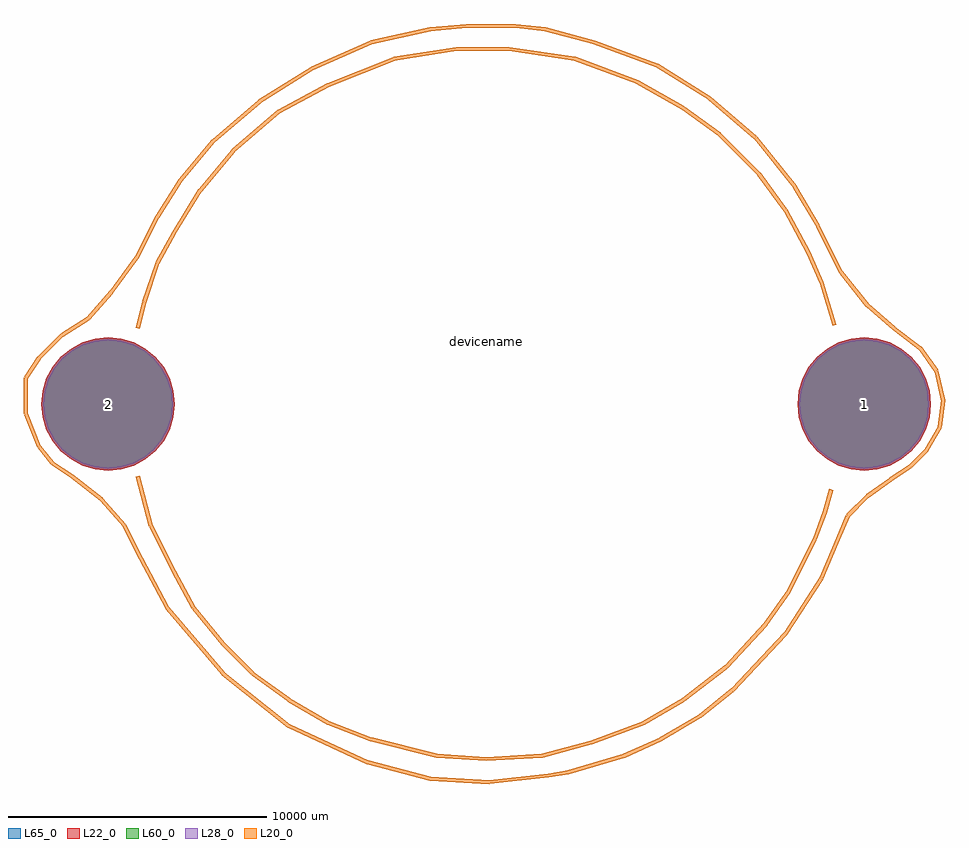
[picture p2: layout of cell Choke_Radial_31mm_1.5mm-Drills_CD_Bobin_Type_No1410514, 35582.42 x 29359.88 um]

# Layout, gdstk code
import gdstk
lib = gdstk.Library(unit=1e-6, precision=1e-09)
def P(c, l, *ps):  # polygons
    for p in ps: c.add(gdstk.Polygon(p, *l))
L20_0 = (20, 0)
L22_0 = (22, 0)
L28_0 = (28, 0)
L60_0 = (60, 0)
L65_0 = (65, 0)

choke_radial_31mm_1_5mm_ = lib.new_cell('Choke_Radial_31mm_1.5mm-Drills_CD_Bobin_Type_No1410514')
P(choke_radial_31mm_1_5mm_, L22_0, [(-12029.37,0),(-12078.86,502.48),(-12225.428,985.651),(-12463.442,1430.943),(-12783.755,1821.245),(-13174.057,2141.558),(-13619.349,2379.572),(-14102.52,2526.14),(-14605,2575.63),(-15107.48,2526.14),(-15590.651,2379.572),(-16035.943,2141.558),(-16426.245,1821.245),(-16746.558,1430.943),(-16984.572,985.651),(-17131.14,502.48),(-17180.63,0),(-17131.14,-502.48),(-16984.572,-985.651),(-16746.558,-1430.943),(-16426.245,-1821.245),(-16035.943,-2141.558),(-15590.651,-2379.572),(-15107.48,-2526.14),(-14605,-2575.63),(-14102.52,-2526.14),(-13619.349,-2379.572),(-13174.057,-2141.558),(-12783.755,-1821.245),(-12463.442,-1430.943),(-12225.428,-985.651),(-12078.86,-502.48)],
  [(17180.63,0),(17131.14,502.48),(16984.572,985.651),(16746.558,1430.943),(16426.245,1821.245),(16035.943,2141.558),(15590.651,2379.572),(15107.48,2526.14),(14605,2575.63),(14102.52,2526.14),(13619.349,2379.572),(13174.057,2141.558),(12783.755,1821.245),(12463.442,1430.943),(12225.428,985.651),(12078.86,502.48),(12029.37,0),(12078.86,-502.48),(12225.428,-985.651),(12463.442,-1430.943),(12783.755,-1821.245),(13174.057,-2141.558),(13619.349,-2379.572),(14102.52,-2526.14),(14605,-2575.63),(15107.48,-2526.14),(15590.651,-2379.572),(16035.943,-2141.558),(16426.245,-1821.245),(16746.558,-1430.943),(16984.572,-985.651),(17131.14,-502.48)])
P(choke_radial_31mm_1_5mm_, L28_0, [(-12104.37,0),(-12152.419,487.849),(-12294.719,956.95),(-12525.802,1389.276),(-12836.788,1768.212),(-13215.724,2079.198),(-13648.05,2310.281),(-14117.151,2452.581),(-14605,2500.63),(-15092.849,2452.581),(-15561.95,2310.281),(-15994.276,2079.198),(-16373.212,1768.212),(-16684.198,1389.276),(-16915.281,956.95),(-17057.581,487.849),(-17105.63,0),(-17057.581,-487.849),(-16915.281,-956.95),(-16684.198,-1389.276),(-16373.212,-1768.212),(-15994.276,-2079.198),(-15561.95,-2310.281),(-15092.849,-2452.581),(-14605,-2500.63),(-14117.151,-2452.581),(-13648.05,-2310.281),(-13215.724,-2079.198),(-12836.788,-1768.212),(-12525.802,-1389.276),(-12294.719,-956.95),(-12152.419,-487.849)],
  [(17105.63,0),(17057.581,487.849),(16915.281,956.95),(16684.198,1389.276),(16373.212,1768.212),(15994.276,2079.198),(15561.95,2310.281),(15092.849,2452.581),(14605,2500.63),(14117.151,2452.581),(13648.05,2310.281),(13215.724,2079.198),(12836.788,1768.212),(12525.802,1389.276),(12294.719,956.95),(12152.419,487.849),(12104.37,0),(12152.419,-487.849),(12294.719,-956.95),(12525.802,-1389.276),(12836.788,-1768.212),(13215.724,-2079.198),(13648.05,-2310.281),(14117.151,-2452.581),(14605,-2500.63),(15092.849,-2452.581),(15561.95,-2310.281),(15994.276,-2079.198),(16373.212,-1768.212),(16684.198,-1389.276),(16915.281,-956.95),(17057.581,-487.849)])
P(choke_radial_31mm_1_5mm_, L60_0, [(-12104.37,0),(-12152.419,487.849),(-12294.719,956.95),(-12525.802,1389.276),(-12836.788,1768.212),(-13215.724,2079.198),(-13648.05,2310.281),(-14117.151,2452.581),(-14605,2500.63),(-15092.849,2452.581),(-15561.95,2310.281),(-15994.276,2079.198),(-16373.212,1768.212),(-16684.198,1389.276),(-16915.281,956.95),(-17057.581,487.849),(-17105.63,0),(-17057.581,-487.849),(-16915.281,-956.95),(-16684.198,-1389.276),(-16373.212,-1768.212),(-15994.276,-2079.198),(-15561.95,-2310.281),(-15092.849,-2452.581),(-14605,-2500.63),(-14117.151,-2452.581),(-13648.05,-2310.281),(-13215.724,-2079.198),(-12836.788,-1768.212),(-12525.802,-1389.276),(-12294.719,-956.95),(-12152.419,-487.849)],
  [(17105.63,0),(17057.581,487.849),(16915.281,956.95),(16684.198,1389.276),(16373.212,1768.212),(15994.276,2079.198),(15561.95,2310.281),(15092.849,2452.581),(14605,2500.63),(14117.151,2452.581),(13648.05,2310.281),(13215.724,2079.198),(12836.788,1768.212),(12525.802,1389.276),(12294.719,956.95),(12152.419,487.849),(12104.37,0),(12152.419,-487.849),(12294.719,-956.95),(12525.802,-1389.276),(12836.788,-1768.212),(13215.724,-2079.198),(13648.05,-2310.281),(14117.151,-2452.581),(14605,-2500.63),(15092.849,-2452.581),(15561.95,-2310.281),(15994.276,-2079.198),(16373.212,-1768.212),(16684.198,-1389.276),(16915.281,-956.95),(17057.581,-487.849)])
P(choke_radial_31mm_1_5mm_, L65_0, [(-12029.37,0),(-12078.86,502.48),(-12225.428,985.651),(-12463.442,1430.943),(-12783.755,1821.245),(-13174.057,2141.558),(-13619.349,2379.572),(-14102.52,2526.14),(-14605,2575.63),(-15107.48,2526.14),(-15590.651,2379.572),(-16035.943,2141.558),(-16426.245,1821.245),(-16746.558,1430.943),(-16984.572,985.651),(-17131.14,502.48),(-17180.63,0),(-17131.14,-502.48),(-16984.572,-985.651),(-16746.558,-1430.943),(-16426.245,-1821.245),(-16035.943,-2141.558),(-15590.651,-2379.572),(-15107.48,-2526.14),(-14605,-2575.63),(-14102.52,-2526.14),(-13619.349,-2379.572),(-13174.057,-2141.558),(-12783.755,-1821.245),(-12463.442,-1430.943),(-12225.428,-985.651),(-12078.86,-502.48)],
  [(17180.63,0),(17131.14,502.48),(16984.572,985.651),(16746.558,1430.943),(16426.245,1821.245),(16035.943,2141.558),(15590.651,2379.572),(15107.48,2526.14),(14605,2575.63),(14102.52,2526.14),(13619.349,2379.572),(13174.057,2141.558),(12783.755,1821.245),(12463.442,1430.943),(12225.428,985.651),(12078.86,502.48),(12029.37,0),(12078.86,-502.48),(12225.428,-985.651),(12463.442,-1430.943),(12783.755,-1821.245),(13174.057,-2141.558),(13619.349,-2379.572),(14102.52,-2526.14),(14605,-2575.63),(15107.48,-2526.14),(15590.651,-2379.572),(16035.943,-2141.558),(16426.245,-1821.245),(16746.558,-1430.943),(16984.572,-985.651),(17131.14,-502.48)])
choke_radial_31mm_1_5mm_.add(gdstk.FlexPath([(11557,-8890),(9525,-11049)], 149.998, ends="flush", simple_path=True, layer=20, datatype=0))  # L20_0
choke_radial_31mm_1_5mm_.add(gdstk.FlexPath([(12954,-6731),(11557,-8890)], 149.998, ends="flush", simple_path=True, layer=20, datatype=0))  # L20_0
choke_radial_31mm_1_5mm_.add(gdstk.FlexPath([(13589,-5207),(12954,-6731)], 149.998, ends="flush", simple_path=True, layer=20, datatype=0))  # L20_0
choke_radial_31mm_1_5mm_.add(gdstk.FlexPath([(13970,-4318),(13589,-5207)], 149.998, ends="flush", simple_path=True, layer=20, datatype=0))  # L20_0
choke_radial_31mm_1_5mm_.add(gdstk.FlexPath([(14732,-3556),(13970,-4318)], 149.998, ends="flush", simple_path=True, layer=20, datatype=0))  # L20_0
choke_radial_31mm_1_5mm_.add(gdstk.FlexPath([(15621,-2921),(14732,-3556)], 149.998, ends="flush", simple_path=True, layer=20, datatype=0))  # L20_0
choke_radial_31mm_1_5mm_.add(gdstk.FlexPath([(16383,-2413),(15621,-2921)], 149.998, ends="flush", simple_path=True, layer=20, datatype=0))  # L20_0
choke_radial_31mm_1_5mm_.add(gdstk.FlexPath([(17018,-1778),(16383,-2413)], 149.998, ends="flush", simple_path=True, layer=20, datatype=0))  # L20_0
choke_radial_31mm_1_5mm_.add(gdstk.FlexPath([(17526,-889),(17018,-1778)], 149.998, ends="flush", simple_path=True, layer=20, datatype=0))  # L20_0
choke_radial_31mm_1_5mm_.add(gdstk.FlexPath([(17653,127),(17526,-889)], 149.998, ends="flush", simple_path=True, layer=20, datatype=0))  # L20_0
choke_radial_31mm_1_5mm_.add(gdstk.FlexPath([(17399,1270),(17653,127)], 149.998, ends="flush", simple_path=True, layer=20, datatype=0))  # L20_0
choke_radial_31mm_1_5mm_.add(gdstk.FlexPath([(16764,2159),(17399,1270)], 149.998, ends="flush", simple_path=True, layer=20, datatype=0))  # L20_0
choke_radial_31mm_1_5mm_.add(gdstk.FlexPath([(15748,2921),(16764,2159)], 149.998, ends="flush", simple_path=True, layer=20, datatype=0))  # L20_0
choke_radial_31mm_1_5mm_.add(gdstk.FlexPath([(14732,3810),(15748,2921)], 149.998, ends="flush", simple_path=True, layer=20, datatype=0))  # L20_0
choke_radial_31mm_1_5mm_.add(gdstk.FlexPath([(13716,5080),(14732,3810)], 149.998, ends="flush", simple_path=True, layer=20, datatype=0))  # L20_0
choke_radial_31mm_1_5mm_.add(gdstk.FlexPath([(12827,6858),(13716,5080)], 149.998, ends="flush", simple_path=True, layer=20, datatype=0))  # L20_0
choke_radial_31mm_1_5mm_.add(gdstk.FlexPath([(11938,8382),(12827,6858)], 149.998, ends="flush", simple_path=True, layer=20, datatype=0))  # L20_0
choke_radial_31mm_1_5mm_.add(gdstk.FlexPath([(10414,10287),(11938,8382)], 149.998, ends="flush", simple_path=True, layer=20, datatype=0))  # L20_0
choke_radial_31mm_1_5mm_.add(gdstk.FlexPath([(8636,11811),(10414,10287)], 149.998, ends="flush", simple_path=True, layer=20, datatype=0))  # L20_0
choke_radial_31mm_1_5mm_.add(gdstk.FlexPath([(6604,13081),(8636,11811)], 149.998, ends="flush", simple_path=True, layer=20, datatype=0))  # L20_0
choke_radial_31mm_1_5mm_.add(gdstk.FlexPath([(4191,13970),(6604,13081)], 149.998, ends="flush", simple_path=True, layer=20, datatype=0))  # L20_0
choke_radial_31mm_1_5mm_.add(gdstk.FlexPath([(2286,14478),(4191,13970)], 149.998, ends="flush", simple_path=True, layer=20, datatype=0))  # L20_0
choke_radial_31mm_1_5mm_.add(gdstk.FlexPath([(1143,14605),(2286,14478)], 149.998, ends="flush", simple_path=True, layer=20, datatype=0))  # L20_0
choke_radial_31mm_1_5mm_.add(gdstk.FlexPath([(0,14605),(1143,14605)], 149.998, ends="flush", simple_path=True, layer=20, datatype=0))  # L20_0
choke_radial_31mm_1_5mm_.add(gdstk.FlexPath([(-762,14605),(127,14605)], 149.998, ends="flush", simple_path=True, layer=20, datatype=0))  # L20_0
choke_radial_31mm_1_5mm_.add(gdstk.FlexPath([(-2159,14478),(-762,14605)], 149.998, ends="flush", simple_path=True, layer=20, datatype=0))  # L20_0
choke_radial_31mm_1_5mm_.add(gdstk.FlexPath([(-4445,13970),(-2159,14478)], 149.998, ends="flush", simple_path=True, layer=20, datatype=0))  # L20_0
choke_radial_31mm_1_5mm_.add(gdstk.FlexPath([(-6731,12954),(-4445,13970)], 149.998, ends="flush", simple_path=True, layer=20, datatype=0))  # L20_0
choke_radial_31mm_1_5mm_.add(gdstk.FlexPath([(-8763,11684),(-6731,12954)], 149.998, ends="flush", simple_path=True, layer=20, datatype=0))  # L20_0
choke_radial_31mm_1_5mm_.add(gdstk.FlexPath([(-10541,10160),(-8763,11684)], 149.998, ends="flush", simple_path=True, layer=20, datatype=0))  # L20_0
choke_radial_31mm_1_5mm_.add(gdstk.FlexPath([(-11811,8636),(-10541,10160)], 149.998, ends="flush", simple_path=True, layer=20, datatype=0))  # L20_0
choke_radial_31mm_1_5mm_.add(gdstk.FlexPath([(-12700,7239),(-11811,8636)], 149.998, ends="flush", simple_path=True, layer=20, datatype=0))  # L20_0
choke_radial_31mm_1_5mm_.add(gdstk.FlexPath([(-13462,5715),(-12700,7239)], 149.998, ends="flush", simple_path=True, layer=20, datatype=0))  # L20_0
choke_radial_31mm_1_5mm_.add(gdstk.FlexPath([(-14478,4318),(-13462,5715)], 149.998, ends="flush", simple_path=True, layer=20, datatype=0))  # L20_0
choke_radial_31mm_1_5mm_.add(gdstk.FlexPath([(-15367,3302),(-14478,4318)], 149.998, ends="flush", simple_path=True, layer=20, datatype=0))  # L20_0
choke_radial_31mm_1_5mm_.add(gdstk.FlexPath([(-16383,2667),(-15367,3302)], 149.998, ends="flush", simple_path=True, layer=20, datatype=0))  # L20_0
choke_radial_31mm_1_5mm_.add(gdstk.FlexPath([(-17272,1778),(-16383,2667)], 149.998, ends="flush", simple_path=True, layer=20, datatype=0))  # L20_0
choke_radial_31mm_1_5mm_.add(gdstk.FlexPath([(-17780,1016),(-17272,1778)], 149.998, ends="flush", simple_path=True, layer=20, datatype=0))  # L20_0
choke_radial_31mm_1_5mm_.add(gdstk.FlexPath([(-17780,-381),(-17780,1016)], 149.998, ends="flush", simple_path=True, layer=20, datatype=0))  # L20_0
choke_radial_31mm_1_5mm_.add(gdstk.FlexPath([(-17272,-1651),(-17780,-381)], 149.998, ends="flush", simple_path=True, layer=20, datatype=0))  # L20_0
choke_radial_31mm_1_5mm_.add(gdstk.FlexPath([(-16764,-2286),(-17272,-1651)], 149.998, ends="flush", simple_path=True, layer=20, datatype=0))  # L20_0
choke_radial_31mm_1_5mm_.add(gdstk.FlexPath([(-16002,-2794),(-16764,-2286)], 149.998, ends="flush", simple_path=True, layer=20, datatype=0))  # L20_0
choke_radial_31mm_1_5mm_.add(gdstk.FlexPath([(-14859,-3683),(-16002,-2794)], 149.998, ends="flush", simple_path=True, layer=20, datatype=0))  # L20_0
choke_radial_31mm_1_5mm_.add(gdstk.FlexPath([(-13970,-4699),(-14859,-3683)], 149.998, ends="flush", simple_path=True, layer=20, datatype=0))  # L20_0
choke_radial_31mm_1_5mm_.add(gdstk.FlexPath([(-13335,-5969),(-13970,-4699)], 149.998, ends="flush", simple_path=True, layer=20, datatype=0))  # L20_0
choke_radial_31mm_1_5mm_.add(gdstk.FlexPath([(-12319,-7874),(-13335,-5969)], 149.998, ends="flush", simple_path=True, layer=20, datatype=0))  # L20_0
choke_radial_31mm_1_5mm_.add(gdstk.FlexPath([(-10160,-10414),(-12319,-7874)], 149.998, ends="flush", simple_path=True, layer=20, datatype=0))  # L20_0
choke_radial_31mm_1_5mm_.add(gdstk.FlexPath([(-7620,-12446),(-10160,-10414)], 149.998, ends="flush", simple_path=True, layer=20, datatype=0))  # L20_0
choke_radial_31mm_1_5mm_.add(gdstk.FlexPath([(-4572,-13843),(-7620,-12446)], 149.998, ends="flush", simple_path=True, layer=20, datatype=0))  # L20_0
choke_radial_31mm_1_5mm_.add(gdstk.FlexPath([(-2159,-14478),(-4572,-13843)], 149.998, ends="flush", simple_path=True, layer=20, datatype=0))  # L20_0
choke_radial_31mm_1_5mm_.add(gdstk.FlexPath([(127,-14605),(-2159,-14478)], 149.998, ends="flush", simple_path=True, layer=20, datatype=0))  # L20_0
choke_radial_31mm_1_5mm_.add(gdstk.FlexPath([(2413,-14351),(127,-14605)], 149.998, ends="flush", simple_path=True, layer=20, datatype=0))  # L20_0
choke_radial_31mm_1_5mm_.add(gdstk.FlexPath([(3175,-14224),(2413,-14351)], 149.998, ends="flush", simple_path=True, layer=20, datatype=0))  # L20_0
choke_radial_31mm_1_5mm_.add(gdstk.FlexPath([(5334,-13589),(3175,-14224)], 149.998, ends="flush", simple_path=True, layer=20, datatype=0))  # L20_0
choke_radial_31mm_1_5mm_.add(gdstk.FlexPath([(6731,-12954),(5334,-13589)], 149.998, ends="flush", simple_path=True, layer=20, datatype=0))  # L20_0
choke_radial_31mm_1_5mm_.add(gdstk.FlexPath([(8255,-12065),(6731,-12954)], 149.998, ends="flush", simple_path=True, layer=20, datatype=0))  # L20_0
choke_radial_31mm_1_5mm_.add(gdstk.FlexPath([(9525,-11049),(8255,-12065)], 149.998, ends="flush", simple_path=True, layer=20, datatype=0))  # L20_0
choke_radial_31mm_1_5mm_.add(gdstk.FlexPath([(6096,-12319),(4064,-13081)], 149.998, ends="flush", simple_path=True, layer=20, datatype=0))  # L20_0
choke_radial_31mm_1_5mm_.add(gdstk.FlexPath([(7620,-11430),(6096,-12319)], 149.998, ends="flush", simple_path=True, layer=20, datatype=0))  # L20_0
choke_radial_31mm_1_5mm_.add(gdstk.FlexPath([(9271,-10160),(7620,-11430)], 149.998, ends="flush", simple_path=True, layer=20, datatype=0))  # L20_0
choke_radial_31mm_1_5mm_.add(gdstk.FlexPath([(10795,-8509),(9271,-10160)], 149.998, ends="flush", simple_path=True, layer=20, datatype=0))  # L20_0
choke_radial_31mm_1_5mm_.add(gdstk.FlexPath([(11684,-7239),(10795,-8509)], 149.998, ends="flush", simple_path=True, layer=20, datatype=0))  # L20_0
choke_radial_31mm_1_5mm_.add(gdstk.FlexPath([(12700,-5207),(11684,-7239)], 149.998, ends="flush", simple_path=True, layer=20, datatype=0))  # L20_0
choke_radial_31mm_1_5mm_.add(gdstk.FlexPath([(13081,-4191),(12700,-5207)], 149.998, ends="flush", simple_path=True, layer=20, datatype=0))  # L20_0
choke_radial_31mm_1_5mm_.add(gdstk.FlexPath([(13335,-3302),(13081,-4191)], 149.998, ends="flush", simple_path=True, layer=20, datatype=0))  # L20_0
choke_radial_31mm_1_5mm_.add(gdstk.FlexPath([(-12954,-4699),(-13462,-2794)], 149.998, ends="flush", simple_path=True, layer=20, datatype=0))  # L20_0
choke_radial_31mm_1_5mm_.add(gdstk.FlexPath([(-12065,-6477),(-12954,-4699)], 149.998, ends="flush", simple_path=True, layer=20, datatype=0))  # L20_0
choke_radial_31mm_1_5mm_.add(gdstk.FlexPath([(-11303,-7874),(-12065,-6477)], 149.998, ends="flush", simple_path=True, layer=20, datatype=0))  # L20_0
choke_radial_31mm_1_5mm_.add(gdstk.FlexPath([(-10160,-9271),(-11303,-7874)], 149.998, ends="flush", simple_path=True, layer=20, datatype=0))  # L20_0
choke_radial_31mm_1_5mm_.add(gdstk.FlexPath([(-9017,-10414),(-10160,-9271)], 149.998, ends="flush", simple_path=True, layer=20, datatype=0))  # L20_0
choke_radial_31mm_1_5mm_.add(gdstk.FlexPath([(-7620,-11430),(-9017,-10414)], 149.998, ends="flush", simple_path=True, layer=20, datatype=0))  # L20_0
choke_radial_31mm_1_5mm_.add(gdstk.FlexPath([(-6096,-12319),(-7620,-11430)], 149.998, ends="flush", simple_path=True, layer=20, datatype=0))  # L20_0
choke_radial_31mm_1_5mm_.add(gdstk.FlexPath([(-4445,-12954),(-6096,-12319)], 149.998, ends="flush", simple_path=True, layer=20, datatype=0))  # L20_0
choke_radial_31mm_1_5mm_.add(gdstk.FlexPath([(-1905,-13589),(-4445,-12954)], 149.998, ends="flush", simple_path=True, layer=20, datatype=0))  # L20_0
choke_radial_31mm_1_5mm_.add(gdstk.FlexPath([(0,-13716),(-1905,-13589)], 149.998, ends="flush", simple_path=True, layer=20, datatype=0))  # L20_0
choke_radial_31mm_1_5mm_.add(gdstk.FlexPath([(2159,-13589),(0,-13716)], 149.998, ends="flush", simple_path=True, layer=20, datatype=0))  # L20_0
choke_radial_31mm_1_5mm_.add(gdstk.FlexPath([(4064,-13081),(2159,-13589)], 149.998, ends="flush", simple_path=True, layer=20, datatype=0))  # L20_0
choke_radial_31mm_1_5mm_.add(gdstk.FlexPath([(12954,4699),(13462,3048)], 149.998, ends="flush", simple_path=True, layer=20, datatype=0))  # L20_0
choke_radial_31mm_1_5mm_.add(gdstk.FlexPath([(12446,5842),(12954,4699)], 149.998, ends="flush", simple_path=True, layer=20, datatype=0))  # L20_0
choke_radial_31mm_1_5mm_.add(gdstk.FlexPath([(11557,7493),(12446,5842)], 149.998, ends="flush", simple_path=True, layer=20, datatype=0))  # L20_0
choke_radial_31mm_1_5mm_.add(gdstk.FlexPath([(10541,8890),(11557,7493)], 149.998, ends="flush", simple_path=True, layer=20, datatype=0))  # L20_0
choke_radial_31mm_1_5mm_.add(gdstk.FlexPath([(9017,10414),(10541,8890)], 149.998, ends="flush", simple_path=True, layer=20, datatype=0))  # L20_0
choke_radial_31mm_1_5mm_.add(gdstk.FlexPath([(7620,11430),(9017,10414)], 149.998, ends="flush", simple_path=True, layer=20, datatype=0))  # L20_0
choke_radial_31mm_1_5mm_.add(gdstk.FlexPath([(5842,12446),(7620,11430)], 149.998, ends="flush", simple_path=True, layer=20, datatype=0))  # L20_0
choke_radial_31mm_1_5mm_.add(gdstk.FlexPath([(3429,13335),(5842,12446)], 149.998, ends="flush", simple_path=True, layer=20, datatype=0))  # L20_0
choke_radial_31mm_1_5mm_.add(gdstk.FlexPath([(889,13716),(3429,13335)], 149.998, ends="flush", simple_path=True, layer=20, datatype=0))  # L20_0
choke_radial_31mm_1_5mm_.add(gdstk.FlexPath([(-1143,13716),(889,13716)], 149.998, ends="flush", simple_path=True, layer=20, datatype=0))  # L20_0
choke_radial_31mm_1_5mm_.add(gdstk.FlexPath([(-3556,13335),(-1143,13716)], 149.998, ends="flush", simple_path=True, layer=20, datatype=0))  # L20_0
choke_radial_31mm_1_5mm_.add(gdstk.FlexPath([(-6096,12319),(-3556,13335)], 149.998, ends="flush", simple_path=True, layer=20, datatype=0))  # L20_0
choke_radial_31mm_1_5mm_.add(gdstk.FlexPath([(-8001,11303),(-6096,12319)], 149.998, ends="flush", simple_path=True, layer=20, datatype=0))  # L20_0
choke_radial_31mm_1_5mm_.add(gdstk.FlexPath([(-9779,9779),(-8001,11303)], 149.998, ends="flush", simple_path=True, layer=20, datatype=0))  # L20_0
choke_radial_31mm_1_5mm_.add(gdstk.FlexPath([(-11049,8255),(-9779,9779)], 149.998, ends="flush", simple_path=True, layer=20, datatype=0))  # L20_0
choke_radial_31mm_1_5mm_.add(gdstk.FlexPath([(-12065,6604),(-11049,8255)], 149.998, ends="flush", simple_path=True, layer=20, datatype=0))  # L20_0
choke_radial_31mm_1_5mm_.add(gdstk.FlexPath([(-12700,5461),(-12065,6604)], 149.998, ends="flush", simple_path=True, layer=20, datatype=0))  # L20_0
choke_radial_31mm_1_5mm_.add(gdstk.FlexPath([(-13208,3937),(-12700,5461)], 149.998, ends="flush", simple_path=True, layer=20, datatype=0))  # L20_0
choke_radial_31mm_1_5mm_.add(gdstk.FlexPath([(-13462,2921),(-13208,3937)], 149.998, ends="flush", simple_path=True, layer=20, datatype=0))  # L20_0
choke_radial_31mm_1_5mm_.add(gdstk.Label('2', (-14605,0), layer=28, texttype=0))
choke_radial_31mm_1_5mm_.add(gdstk.Label('1', (14605,0), layer=28, texttype=0))
choke_radial_31mm_1_5mm_.add(gdstk.Label('type', (-635,-16510), layer=9, texttype=0))
choke_radial_31mm_1_5mm_.add(gdstk.Label('devicename', (0,2413), layer=9, texttype=0))

lib.write_gds('Choke_Radial_31mm_1.5mm-Drills_CD_Bobin_Type_No1410514.gds')
